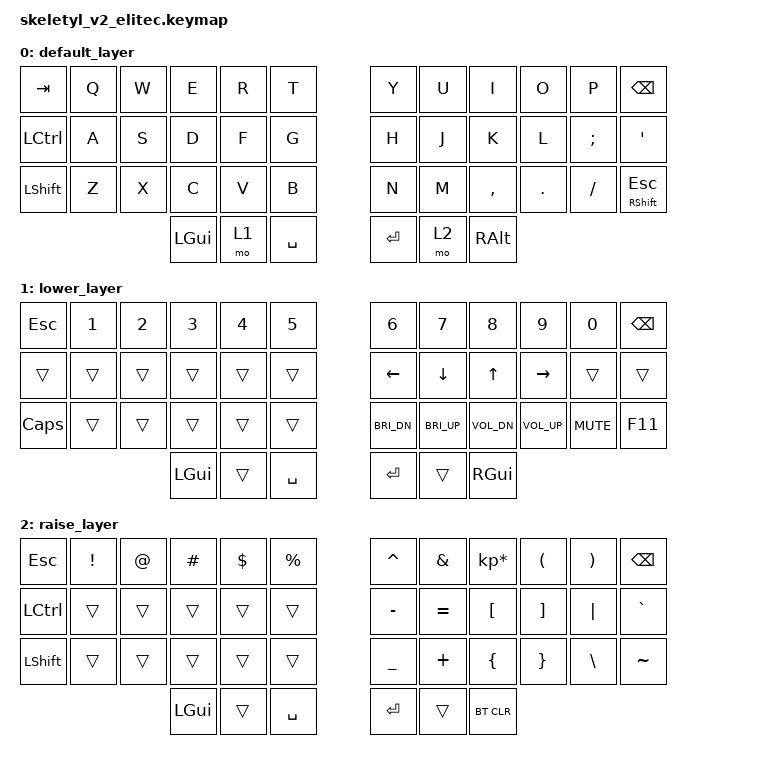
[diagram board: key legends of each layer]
/*
 * Copyright (c) 2020 ZMK Contributors
 *
 * SPDX-License-Identifier: MIT
 */


#include <behaviors.dtsi>
#include <dt-bindings/zmk/keys.h>
#include <dt-bindings/zmk/bt.h>

/ {
  keymap {
    compatible = "zmk,keymap";

    default_layer {
      // -----------------------------------------------------------------------------------------
      // |  TAB |  Q  |  W  |  E  |  R  |  T  |   |  Y  |  U   |  I  |  O  |  P  | BKSP |
      // | CTRL |  A  |  S  |  D  |  F  |  G  |   |  H  |  J   |  K  |  L  |  ;  |  '   |
      // | SHFT |  Z  |  X  |  C  |  V  |  B  |   |  N  |  M   |  ,  |  .  |  /  | SHFT |
      //                    | GUI | LWR | SPC |   | ENT | RSE  | ALT |
      bindings = <
        &kp TAB   &kp Q &kp W &kp E &kp R &kp T   &kp Y &kp U  &kp I     &kp O   &kp P    &kp BSPC
        &kp LCTRL &kp A &kp S &kp D &kp F &kp G   &kp H &kp J  &kp K     &kp L   &kp SEMI &kp SQT
        &kp LSHFT &kp Z &kp X &kp C &kp V &kp B   &kp N &kp M  &kp COMMA &kp DOT &kp FSLH &mt RSHFT ESC
        &kp LGUI &mo 1 &kp SPACE   &kp RET &mo 2 &kp RALT
        >;
    };
    lower_layer {
      // -----------------------------------------------------------------------------------------
      // |  ESC |  1  |  2  |  3  |  4  |  5  |   |  6  |  7  |  8  |  9  |  0  | BKSP |
      // | BTCLR| BT1 | BT2 | BT3 | BT4 | BT5 |   | LFT | DWN |  UP | RGT |     |      |
      // | SHFT |     |     |     |     |     |   |     |     |     |     |     |      |
      //                    | GUI |     | SPC |   | ENT |     | ALT |
      bindings = <
        &kp ESC    &kp N1       &kp N2       &kp N3       &kp N4       &kp N5            &kp N6   &kp N7   &kp N8 &kp N9    &kp N0 &kp BSPC
        &trans &trans &trans &trans &trans &trans      &kp LEFT &kp DOWN &kp UP &kp RIGHT &trans &trans
        &kp CAPS  &trans       &trans       &trans       &trans       &trans            &kp C_BRI_DN   &kp C_BRI_UP   &kp C_VOL_DN  &kp C_VOL_UP  &kp C_MUTE &kp F11
        &kp LGUI     &trans       &kp SPACE         &kp RET &trans &kp RGUI
        >;
    };

    raise_layer {
      // -----------------------------------------------------------------------------------------
      // |  ESC |  !  |  @  |  #  |  $  |  %  |   |  ^  |  &  |  *  |  (  |  )  | BKSP |
      // | CTRL |     |     |     |     |     |   |  -  |  =  |  {  |  }  | "|" |  `   |
      // | SHFT |     |     |     |     |     |   |  _  |  +  |  [  |  ]  |  \  |  ~   | // TODO: Fix this row when &mkp is committed
      //                    | GUI |     | SPC |   | ENT |     | ALT |
      bindings = <
        &kp  ESC  &kp EXCL  &kp AT  &kp HASH  &kp DLLR  &kp PRCNT   &kp CARET &kp AMPS  &kp KP_MULTIPLY &kp LPAR &kp RPAR &kp BSPC
        &kp LCTRL &trans    &trans  &trans    &trans    &trans      &kp MINUS &kp EQUAL &kp LBKT   &kp RBKT &kp PIPE &kp GRAVE
        &kp LSHFT &trans    &trans  &trans    &trans    &trans      &kp UNDER &kp PLUS  &kp LBRC   &kp RBRC &kp BSLH &kp TILDE
        &kp LGUI &trans &kp SPACE   &kp RET &trans &bt BT_CLR
        >;
    };
  };
};
